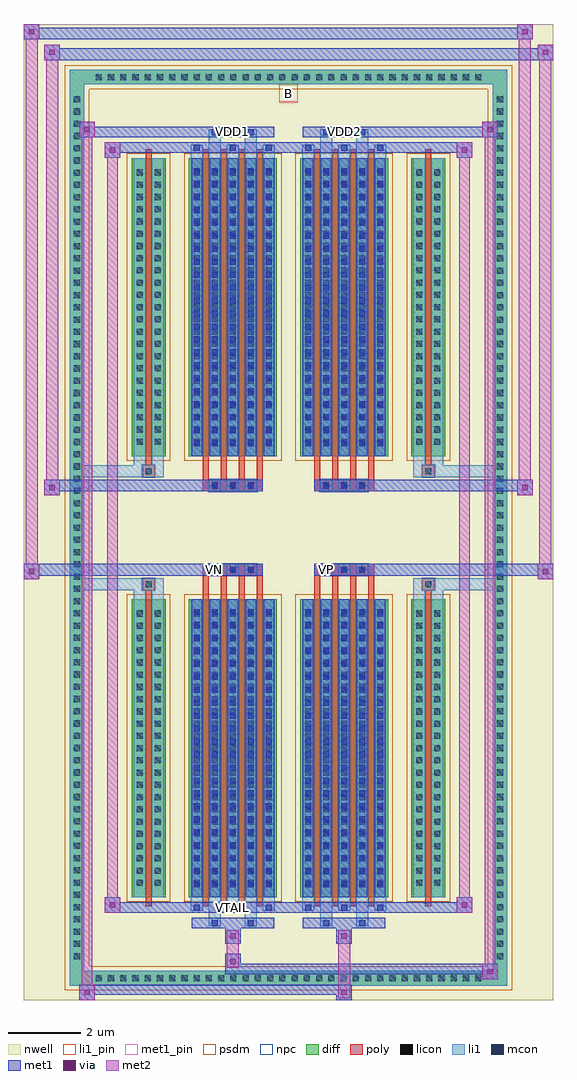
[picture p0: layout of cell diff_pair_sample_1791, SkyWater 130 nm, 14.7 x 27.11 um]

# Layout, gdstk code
import gdstk
lib = gdstk.Library(unit=1e-6, precision=5e-09)
def R(c, l, rs):  # rectangles x0, y0, x1, y1
    for r in rs: c.add(gdstk.rectangle(r[:2], r[2:], *l))
def A(c, l, x, y, w, h, nx, ny, dx, dy):  # array of equal rectangles
    R(c, l, [(x+i*dx, y+j*dy, x+i*dx+w, y+j*dy+h) for i in range(nx) for j in range(ny)])
def P(c, l, *ps):  # polygons
    for p in ps: c.add(gdstk.Polygon(p, *l))
nwell = (64, 20)
diff = (65, 20)
poly = (66, 20)
licon = (66, 44)
li1_pin = (67, 16)
li1 = (67, 20)
mcon = (67, 44)
met1_pin = (68, 16)
met1 = (68, 20)
via = (68, 44)
met2 = (69, 20)
psdm = (94, 20)
npc = (95, 20)

diff_pair_sample_1791 = lib.new_cell('diff_pair_sample_1791')
R(diff_pair_sample_1791, nwell, [(-7.35,-13.12,7.35,13.99), (-4.67,-11.31,-0.01,-0.805), (0.01,-11.31,4.67,-0.805), (-4.67,0.805,-0.01,11.31), (0.01,0.805,4.67,11.31)])
A(diff_pair_sample_1791, diff, -5.475, -12.72, 0.41, 0.41, 32, 2, 0.34, 25.03)
A(diff_pair_sample_1791, diff, -6.08, -12.105, 0.41, 0.41, 1, 71, 0, 0.34)
A(diff_pair_sample_1791, diff, 5.67, -12.105, 0.41, 0.41, 1, 71, 0, 0.34)
R(diff_pair_sample_1791, diff, [(-5.475,-12.72,5.475,-12.31), (-6.08,-12.105,-5.67,12.105), (5.67,-12.105,6.08,12.105), (-4.36,-10.265,-3.41,-1.985), (-2.77,-10.265,-0.32,-1.985), (0.32,-10.265,2.77,-1.985), (3.41,-10.265,4.36,-1.985), (-4.36,1.985,-3.41,10.265), (-2.77,1.985,-0.32,10.265), (0.32,1.985,2.77,10.265), (3.41,1.985,4.36,10.265), (-5.475,12.31,5.475,12.72)])
P(diff_pair_sample_1791, diff, [(6.08,12.72),(-6.08,12.72),(-6.08,-12.31),(-5.67,-12.31),(-5.67,12.31),(5.67,12.31),(5.67,-12.31),(-5.67,-12.31),(-6.08,-12.31),(-6.08,-12.72),(6.08,-12.72)])
A(diff_pair_sample_1791, poly, -2.38, -10.515, 0.17, 8.78, 4, 2, 0.5, 12.25)
A(diff_pair_sample_1791, poly, 0.71, -10.515, 0.17, 8.78, 4, 2, 0.5, 12.25)
A(diff_pair_sample_1791, poly, -2.38, -1.735, 0.17, 0.4, 4, 2, 0.5, 3.07)
A(diff_pair_sample_1791, poly, 0.71, -1.735, 0.17, 0.4, 4, 2, 0.5, 3.07)
A(diff_pair_sample_1791, poly, -2.21, -1.335, 0.33, 0.33, 3, 2, 0.5, 2.34)
A(diff_pair_sample_1791, poly, 0.88, -1.335, 0.33, 0.33, 3, 2, 0.5, 2.34)
R(diff_pair_sample_1791, poly, [(-3.97,-10.515,-3.8,-1.735), (3.8,-10.515,3.97,-1.735), (-4.05,-1.735,-3.72,-1.405), (-4.05,-1.735,-3.72,-1.405), (3.72,-1.735,4.05,-1.405), (3.72,-1.735,4.05,-1.405), (-2.38,-1.335,-0.71,-1.005), (0.71,-1.335,2.38,-1.005), (-2.38,1.005,-0.71,1.335), (0.71,1.005,2.38,1.335), (-4.05,1.405,-3.72,1.735), (-4.05,1.405,-3.72,1.735), (3.72,1.405,4.05,1.735), (3.72,1.405,4.05,1.735), (-3.97,1.735,-3.8,10.515), (3.8,1.735,3.97,10.515)])
A(diff_pair_sample_1791, licon, -5.355, -12.6, 0.17, 0.17, 32, 2, 0.34, 25.03)
A(diff_pair_sample_1791, licon, -5.96, -11.985, 0.17, 0.17, 1, 71, 0, 0.34)
A(diff_pair_sample_1791, licon, 5.79, -11.985, 0.17, 0.17, 1, 71, 0, 0.34)
A(diff_pair_sample_1791, licon, -4.22, -9.95, 0.17, 0.17, 1, 23, 0, 0.34)
A(diff_pair_sample_1791, licon, -3.72, -9.95, 0.17, 0.17, 1, 23, 0, 0.34)
A(diff_pair_sample_1791, licon, -2.63, -9.95, 0.17, 0.17, 5, 23, 0.5, 0.34)
A(diff_pair_sample_1791, licon, 0.46, -9.95, 0.17, 0.17, 5, 23, 0.5, 0.34)
A(diff_pair_sample_1791, licon, 3.55, -9.95, 0.17, 0.17, 1, 23, 0, 0.34)
A(diff_pair_sample_1791, licon, 4.05, -9.95, 0.17, 0.17, 1, 23, 0, 0.34)
A(diff_pair_sample_1791, licon, -2.13, -1.255, 0.17, 0.17, 3, 2, 0.5, 2.34)
A(diff_pair_sample_1791, licon, 0.96, -1.255, 0.17, 0.17, 3, 2, 0.5, 2.34)
A(diff_pair_sample_1791, licon, -4.22, 2.3, 0.17, 0.17, 1, 23, 0, 0.34)
A(diff_pair_sample_1791, licon, -3.72, 2.3, 0.17, 0.17, 1, 23, 0, 0.34)
A(diff_pair_sample_1791, licon, -2.63, 2.3, 0.17, 0.17, 5, 23, 0.5, 0.34)
A(diff_pair_sample_1791, licon, 0.46, 2.3, 0.17, 0.17, 5, 23, 0.5, 0.34)
A(diff_pair_sample_1791, licon, 3.55, 2.3, 0.17, 0.17, 1, 23, 0, 0.34)
A(diff_pair_sample_1791, licon, 4.05, 2.3, 0.17, 0.17, 1, 23, 0, 0.34)
R(diff_pair_sample_1791, licon, [(-3.97,-1.655,-3.8,-1.485), (3.8,-1.655,3.97,-1.485), (-3.97,1.485,-3.8,1.655), (3.8,1.485,3.97,1.655)])
R(diff_pair_sample_1791, li1_pin, [(-0.25,11.81,0.25,12.31)])
A(diff_pair_sample_1791, li1, -5.435, -12.68, 0.33, 0.33, 32, 2, 0.34, 25.03)
A(diff_pair_sample_1791, li1, -6.04, -12.065, 0.33, 0.33, 1, 71, 0, 0.34)
A(diff_pair_sample_1791, li1, 5.71, -12.065, 0.33, 0.33, 1, 71, 0, 0.34)
A(diff_pair_sample_1791, li1, -2.71, -10.64, 0.33, 0.375, 3, 2, 1, 20.905)
A(diff_pair_sample_1791, li1, -2.63, -10.64, 0.17, 0.17, 3, 2, 1, 21.11)
A(diff_pair_sample_1791, li1, 0.38, -10.64, 0.33, 0.375, 3, 2, 1, 20.905)
A(diff_pair_sample_1791, li1, 0.46, -10.64, 0.17, 0.17, 3, 2, 1, 21.11)
A(diff_pair_sample_1791, li1, -2.71, -10.265, 0.33, 8.28, 5, 2, 0.5, 12.25)
A(diff_pair_sample_1791, li1, 0.38, -10.265, 0.33, 8.28, 5, 2, 0.5, 12.25)
A(diff_pair_sample_1791, li1, -4.3, -10.03, 0.33, 0.33, 1, 23, 0, 0.34)
A(diff_pair_sample_1791, li1, -3.8, -10.03, 0.33, 0.33, 1, 23, 0, 0.34)
A(diff_pair_sample_1791, li1, -2.71, -10.03, 0.33, 0.33, 5, 23, 0.5, 0.34)
A(diff_pair_sample_1791, li1, 0.38, -10.03, 0.33, 0.33, 5, 23, 0.5, 0.34)
A(diff_pair_sample_1791, li1, 3.47, -10.03, 0.33, 0.33, 1, 23, 0, 0.34)
A(diff_pair_sample_1791, li1, 3.97, -10.03, 0.33, 0.33, 1, 23, 0, 0.34)
A(diff_pair_sample_1791, li1, -2.63, -9.99, 0.17, 0.17, 5, 22, 0.5, 0.36)
A(diff_pair_sample_1791, li1, -2.63, -9.99, 0.17, 7.73, 5, 2, 0.5, 12.25)
A(diff_pair_sample_1791, li1, 0.46, -9.99, 0.17, 0.17, 5, 22, 0.5, 0.36)
A(diff_pair_sample_1791, li1, 0.46, -9.99, 0.17, 7.73, 5, 2, 0.5, 12.25)
A(diff_pair_sample_1791, li1, -2.21, -1.335, 0.33, 0.33, 3, 2, 0.5, 2.34)
A(diff_pair_sample_1791, li1, 0.88, -1.335, 0.33, 0.33, 3, 2, 0.5, 2.34)
A(diff_pair_sample_1791, li1, -4.3, 2.22, 0.33, 0.33, 1, 23, 0, 0.34)
A(diff_pair_sample_1791, li1, -3.8, 2.22, 0.33, 0.33, 1, 23, 0, 0.34)
A(diff_pair_sample_1791, li1, -2.71, 2.22, 0.33, 0.33, 5, 23, 0.5, 0.34)
A(diff_pair_sample_1791, li1, 0.38, 2.22, 0.33, 0.33, 5, 23, 0.5, 0.34)
A(diff_pair_sample_1791, li1, 3.47, 2.22, 0.33, 0.33, 1, 23, 0, 0.34)
A(diff_pair_sample_1791, li1, 3.97, 2.22, 0.33, 0.33, 1, 23, 0, 0.34)
A(diff_pair_sample_1791, li1, -2.63, 2.26, 0.17, 0.17, 5, 22, 0.5, 0.36)
A(diff_pair_sample_1791, li1, 0.46, 2.26, 0.17, 0.17, 5, 22, 0.5, 0.36)
R(diff_pair_sample_1791, li1, [(-6.08,-12.72,-5.67,-12.31), (-6.08,-12.72,-5.67,-12.31), (-5.67,-12.72,5.67,-12.31), (5.67,-12.72,6.08,-12.31), (5.67,-12.72,6.08,-12.31), (-6.08,-12.31,-5.67,12.31), (5.67,-12.31,6.08,12.31), (-2.21,-11.07,-1.88,-10.265), (-2.13,-11.07,-1.96,-10.9), (-1.21,-11.07,-0.88,-10.265), (-1.13,-11.07,-0.96,-10.9), (0.88,-11.07,1.21,-10.265), (0.96,-11.07,1.13,-10.9), (1.88,-11.07,2.21,-10.265), (1.96,-11.07,2.13,-10.9), (-4.3,-10.265,-3.97,-1.985), (-3.8,-10.265,-3.47,-1.985), (3.47,-10.265,3.8,-1.985), (3.97,-10.265,4.3,-1.985), (-4.3,-1.985,-3.97,-1.405), (-3.8,-1.985,-3.47,-1.405), (3.47,-1.985,3.8,-1.405), (3.97,-1.985,4.3,-1.405), (-6.08,-1.735,-4.05,-1.405), (-4.3,-1.735,-4.05,-1.405), (-4.05,-1.735,-3.72,-1.405), (-3.72,-1.735,-3.47,-1.405), (3.47,-1.735,3.72,-1.405), (3.72,-1.735,4.05,-1.405), (3.72,-1.735,6.08,-1.405), (4.05,-1.735,4.3,-1.405), (-6.08,1.405,-4.05,1.735), (-4.3,1.405,-4.05,1.735), (-4.3,1.405,-3.97,1.985), (-4.05,1.405,-3.72,1.735), (-3.8,1.405,-3.47,1.985), (-3.72,1.405,-3.47,1.735), (3.47,1.405,3.72,1.735), (3.47,1.405,3.8,1.985), (3.72,1.405,4.05,1.735), (3.72,1.405,6.08,1.735), (3.97,1.405,4.3,1.985), (4.05,1.405,4.3,1.735), (-4.3,1.985,-3.97,10.265), (-3.8,1.985,-3.47,10.265), (3.47,1.985,3.8,10.265), (3.97,1.985,4.3,10.265), (-2.21,10.265,-1.88,11.07), (-1.21,10.265,-0.88,11.07), (0.88,10.265,1.21,11.07), (1.88,10.265,2.21,11.07), (-2.13,10.9,-1.96,11.07), (-1.13,10.9,-0.96,11.07), (0.96,10.9,1.13,11.07), (1.96,10.9,2.13,11.07), (-6.08,12.31,-5.67,12.72), (-6.08,12.31,-5.67,12.72), (-5.67,12.31,5.67,12.72), (5.67,12.31,6.08,12.72), (5.67,12.31,6.08,12.72)])
A(diff_pair_sample_1791, mcon, -2.63, -10.64, 0.17, 0.17, 3, 2, 1, 21.11)
A(diff_pair_sample_1791, mcon, 0.46, -10.64, 0.17, 0.17, 3, 2, 1, 21.11)
A(diff_pair_sample_1791, mcon, -2.63, -9.99, 0.17, 0.17, 5, 22, 0.5, 0.36)
A(diff_pair_sample_1791, mcon, 0.46, -9.99, 0.17, 0.17, 5, 22, 0.5, 0.36)
A(diff_pair_sample_1791, mcon, -2.13, -1.255, 0.17, 0.17, 3, 2, 0.5, 2.34)
A(diff_pair_sample_1791, mcon, 0.96, -1.255, 0.17, 0.17, 3, 2, 0.5, 2.34)
A(diff_pair_sample_1791, mcon, -2.63, 2.26, 0.17, 0.17, 5, 22, 0.5, 0.36)
A(diff_pair_sample_1791, mcon, 0.46, 2.26, 0.17, 0.17, 5, 22, 0.5, 0.36)
R(diff_pair_sample_1791, mcon, [(-2.13,-11.07,-1.96,-10.9), (-1.13,-11.07,-0.96,-10.9), (0.96,-11.07,1.13,-10.9), (1.96,-11.07,2.13,-10.9), (-2.13,10.9,-1.96,11.07), (-1.13,10.9,-0.96,11.07), (0.96,10.9,1.13,11.07), (1.96,10.9,2.13,11.07)])
R(diff_pair_sample_1791, met1_pin, [(-1.68,-10.68,-1.41,-10.41), (-2.18,-1.295,-1.91,-1.025), (0.91,-1.295,1.18,-1.025), (-1.68,10.86,-1.41,11.13), (1.41,10.86,1.68,11.13)])
A(diff_pair_sample_1791, met1, -2.69, -10.7, 0.29, 0.29, 3, 2, 1, 21.11)
A(diff_pair_sample_1791, met1, 0.4, -10.7, 0.29, 0.29, 3, 2, 1, 21.11)
A(diff_pair_sample_1791, met1, -2.69, -10.265, 0.29, 8.28, 5, 2, 0.5, 12.25)
A(diff_pair_sample_1791, met1, 0.4, -10.265, 0.29, 8.28, 5, 2, 0.5, 12.25)
A(diff_pair_sample_1791, met1, -2.69, -10.05, 0.29, 0.29, 5, 22, 0.5, 0.36)
A(diff_pair_sample_1791, met1, 0.4, -10.05, 0.29, 0.29, 5, 22, 0.5, 0.36)
A(diff_pair_sample_1791, met1, -2.19, -1.315, 0.29, 0.29, 3, 2, 0.5, 2.34)
A(diff_pair_sample_1791, met1, 0.9, -1.315, 0.29, 0.29, 3, 2, 0.5, 2.34)
A(diff_pair_sample_1791, met1, -2.69, 2.2, 0.29, 0.29, 5, 22, 0.5, 0.36)
A(diff_pair_sample_1791, met1, 0.4, 2.2, 0.29, 0.29, 5, 22, 0.5, 0.36)
R(diff_pair_sample_1791, met1, [(-5.81,-13.12,-5.38,-12.69), (1.33,-13.12,1.76,-12.69), (-5.81,-12.98,1.76,-12.69), (5.38,-12.55,5.81,-12.12), (-1.76,-12.41,5.81,-12.12), (-1.76,-12.27,-1.33,-11.84), (-1.76,-11.56,-1.33,-11.13), (1.33,-11.56,1.76,-11.13), (-2.69,-11.13,-0.4,-10.84), (-2.19,-11.13,-1.9,-10.84), (-1.19,-11.13,-0.9,-10.84), (0.4,-11.13,2.69,-10.84), (0.9,-11.13,1.19,-10.84), (1.9,-11.13,2.19,-10.84), (-5.1,-10.7,-4.67,-10.27), (-5.1,-10.7,-2.69,-10.41), (-2.69,-10.7,-0.4,-10.41), (-0.4,-10.7,0.4,-10.41), (0.4,-10.7,2.69,-10.41), (2.69,-10.7,5.1,-10.41), (4.67,-10.7,5.1,-10.27), (-7.35,-1.435,-6.92,-1.005), (6.92,-1.435,7.35,-1.005), (-7.35,-1.335,-0.71,-1.005), (-2.38,-1.335,-0.71,-1.005), (0.71,-1.335,2.38,-1.005), (0.71,-1.335,7.35,-1.005), (-6.78,0.905,-6.35,1.335), (6.35,0.905,6.78,1.335), (-6.78,1.005,-2.38,1.335), (-2.38,1.005,-0.71,1.335), (0.71,1.005,2.38,1.335), (2.38,1.005,6.78,1.335), (-5.1,10.27,-4.67,10.7), (4.67,10.27,5.1,10.7), (-5.1,10.41,-2.69,10.7), (-2.69,10.41,-0.4,10.7), (-0.4,10.41,0.4,10.7), (0.4,10.41,2.69,10.7), (2.69,10.41,5.1,10.7), (-5.81,10.84,-5.38,11.27), (-5.81,10.84,-2.69,11.13), (-2.69,10.84,-0.4,11.13), (-2.19,10.84,-1.9,11.13), (-1.19,10.84,-0.9,11.13), (0.4,10.84,2.69,11.13), (0.9,10.84,1.19,11.13), (1.9,10.84,2.19,11.13), (2.69,10.84,5.81,11.13), (5.38,10.84,5.81,11.27), (-6.78,12.99,-6.35,13.42), (-6.78,12.99,-4.67,13.32), (-4.67,12.99,4.67,13.32), (4.67,12.99,7.35,13.32), (6.92,12.99,7.35,13.42), (-7.35,13.56,-6.92,13.99), (-7.35,13.56,-4.67,13.89), (-4.67,13.56,4.67,13.89), (4.67,13.56,6.78,13.89), (6.35,13.56,6.78,13.99)])
R(diff_pair_sample_1791, via, [(-5.67,-12.98,-5.52,-12.83), (1.47,-12.98,1.62,-12.83), (5.52,-12.41,5.67,-12.26), (-1.62,-12.13,-1.47,-11.98), (-1.62,-11.42,-1.47,-11.27), (1.47,-11.42,1.62,-11.27), (-4.96,-10.56,-4.81,-10.41), (4.81,-10.56,4.96,-10.41), (-7.21,-1.295,-7.06,-1.145), (7.06,-1.295,7.21,-1.145), (-6.64,1.045,-6.49,1.195), (6.49,1.045,6.64,1.195), (-4.96,10.41,-4.81,10.56), (4.81,10.41,4.96,10.56), (-5.67,10.98,-5.52,11.13), (5.52,10.98,5.67,11.13), (-6.64,13.13,-6.49,13.28), (7.06,13.13,7.21,13.28), (-7.21,13.7,-7.06,13.85), (6.49,13.7,6.64,13.85)])
R(diff_pair_sample_1791, met2, [(-5.81,-13.12,-5.38,-12.69), (-5.74,-13.12,-5.45,11.27), (-5.45,-13.12,-5.38,-12.69), (-5.76,-13.07,-5.43,-12.74), (1.38,-13.07,1.71,-12.74), (1.38,-12.74,1.71,-11.51), (5.38,-12.55,5.81,-12.12), (5.45,-12.55,5.74,11.27), (5.74,-12.55,5.81,-12.12), (5.43,-12.5,5.76,-12.17), (-1.71,-12.22,-1.38,-11.89), (-1.71,-11.89,-1.38,-11.51), (-1.71,-11.51,-1.38,-11.18), (1.38,-11.51,1.71,-11.18), (-5.1,-10.7,-4.67,-10.27), (-5.03,-10.7,-4.74,10.7), (-4.74,-10.7,-4.67,-10.27), (4.67,-10.7,5.1,-10.27), (4.74,-10.7,5.03,10.7), (5.03,-10.7,5.1,-10.27), (-5.05,-10.65,-4.72,-10.32), (4.72,-10.65,5.05,-10.32), (-7.35,-1.435,-6.92,-1.005), (-7.3,-1.435,-6.97,13.99), (-6.97,-1.435,-6.92,-1.005), (6.92,-1.435,7.35,-1.005), (6.97,-1.435,7.3,13.42), (7.3,-1.435,7.35,-1.005), (-7.3,-1.385,-6.97,-1.055), (6.97,-1.385,7.3,-1.055), (-6.78,0.905,-6.35,1.335), (-6.73,0.905,-6.4,13.42), (-6.4,0.905,-6.35,1.335), (6.35,0.905,6.78,1.335), (6.4,0.905,6.73,13.99), (6.73,0.905,6.78,1.335), (-6.73,0.955,-6.4,1.285), (6.4,0.955,6.73,1.285), (-5.1,10.27,-4.67,10.7), (-4.74,10.27,-4.67,10.7), (4.67,10.27,5.1,10.7), (5.03,10.27,5.1,10.7), (-5.05,10.32,-4.72,10.65), (4.72,10.32,5.05,10.65), (-5.81,10.84,-5.38,11.27), (-5.45,10.84,-5.38,11.27), (5.38,10.84,5.81,11.27), (5.74,10.84,5.81,11.27), (-5.76,10.89,-5.43,11.22), (5.43,10.89,5.76,11.22), (-6.78,12.99,-6.35,13.42), (-6.4,12.99,-6.35,13.42), (6.92,12.99,7.35,13.42), (7.3,12.99,7.35,13.42), (-6.73,13.04,-6.4,13.37), (6.97,13.04,7.3,13.37), (-7.35,13.56,-6.92,13.99), (-6.97,13.56,-6.92,13.99), (6.35,13.56,6.78,13.99), (6.73,13.56,6.78,13.99), (-7.3,13.61,-6.97,13.94), (6.4,13.61,6.73,13.94)])
R(diff_pair_sample_1791, psdm, [(-4.49,-10.395,-3.28,-1.855), (-2.9,-10.395,-0.19,-1.855), (0.19,-10.395,2.9,-1.855), (3.28,-10.395,4.49,-1.855), (-4.49,1.855,-3.28,10.395), (-2.9,1.855,-0.19,10.395), (0.19,1.855,2.9,10.395), (3.28,1.855,4.49,10.395)])
P(diff_pair_sample_1791, psdm, [(6.21,12.85),(-6.21,12.85),(-6.21,-12.18),(-5.54,-12.18),(-5.54,12.18),(5.54,12.18),(5.54,-12.18),(-5.54,-12.18),(-6.21,-12.18),(-6.21,-12.85),(6.21,-12.85)])
A(diff_pair_sample_1791, npc, -2.23, -1.355, 0.37, 0.37, 3, 2, 0.5, 2.34)
A(diff_pair_sample_1791, npc, 0.86, -1.355, 0.37, 0.37, 3, 2, 0.5, 2.34)
R(diff_pair_sample_1791, npc, [(-4.07,-1.755,-3.7,-1.385), (3.7,-1.755,4.07,-1.385), (-2.23,-1.355,-1.36,-0.985), (-2.23,-1.355,-1.36,-0.985), (-1.73,-1.355,-0.86,-0.985), (-1.73,-1.355,-0.86,-0.985), (0.86,-1.355,1.73,-0.985), (0.86,-1.355,1.73,-0.985), (1.36,-1.355,2.23,-0.985), (1.36,-1.355,2.23,-0.985), (-2.23,0.985,-1.36,1.355), (-2.23,0.985,-1.36,1.355), (-1.73,0.985,-0.86,1.355), (-1.73,0.985,-0.86,1.355), (0.86,0.985,1.73,1.355), (0.86,0.985,1.73,1.355), (1.36,0.985,2.23,1.355), (1.36,0.985,2.23,1.355), (-4.07,1.385,-3.7,1.755), (3.7,1.385,4.07,1.755)])
diff_pair_sample_1791.add(gdstk.Label('VTAIL', (-1.545,-10.545), layer=68, texttype=5))
diff_pair_sample_1791.add(gdstk.Label('VN', (-2.045,-1.16), layer=68, texttype=5))
diff_pair_sample_1791.add(gdstk.Label('VP', (1.045,-1.16), layer=68, texttype=5))
diff_pair_sample_1791.add(gdstk.Label('B', (0,12.06), layer=67, texttype=5))
diff_pair_sample_1791.add(gdstk.Label('VDD2', (1.545,10.995), layer=68, texttype=5))
diff_pair_sample_1791.add(gdstk.Label('VDD1', (-1.545,10.995), layer=68, texttype=5))

lib.write_gds('diff_pair_sample_1791.gds')
